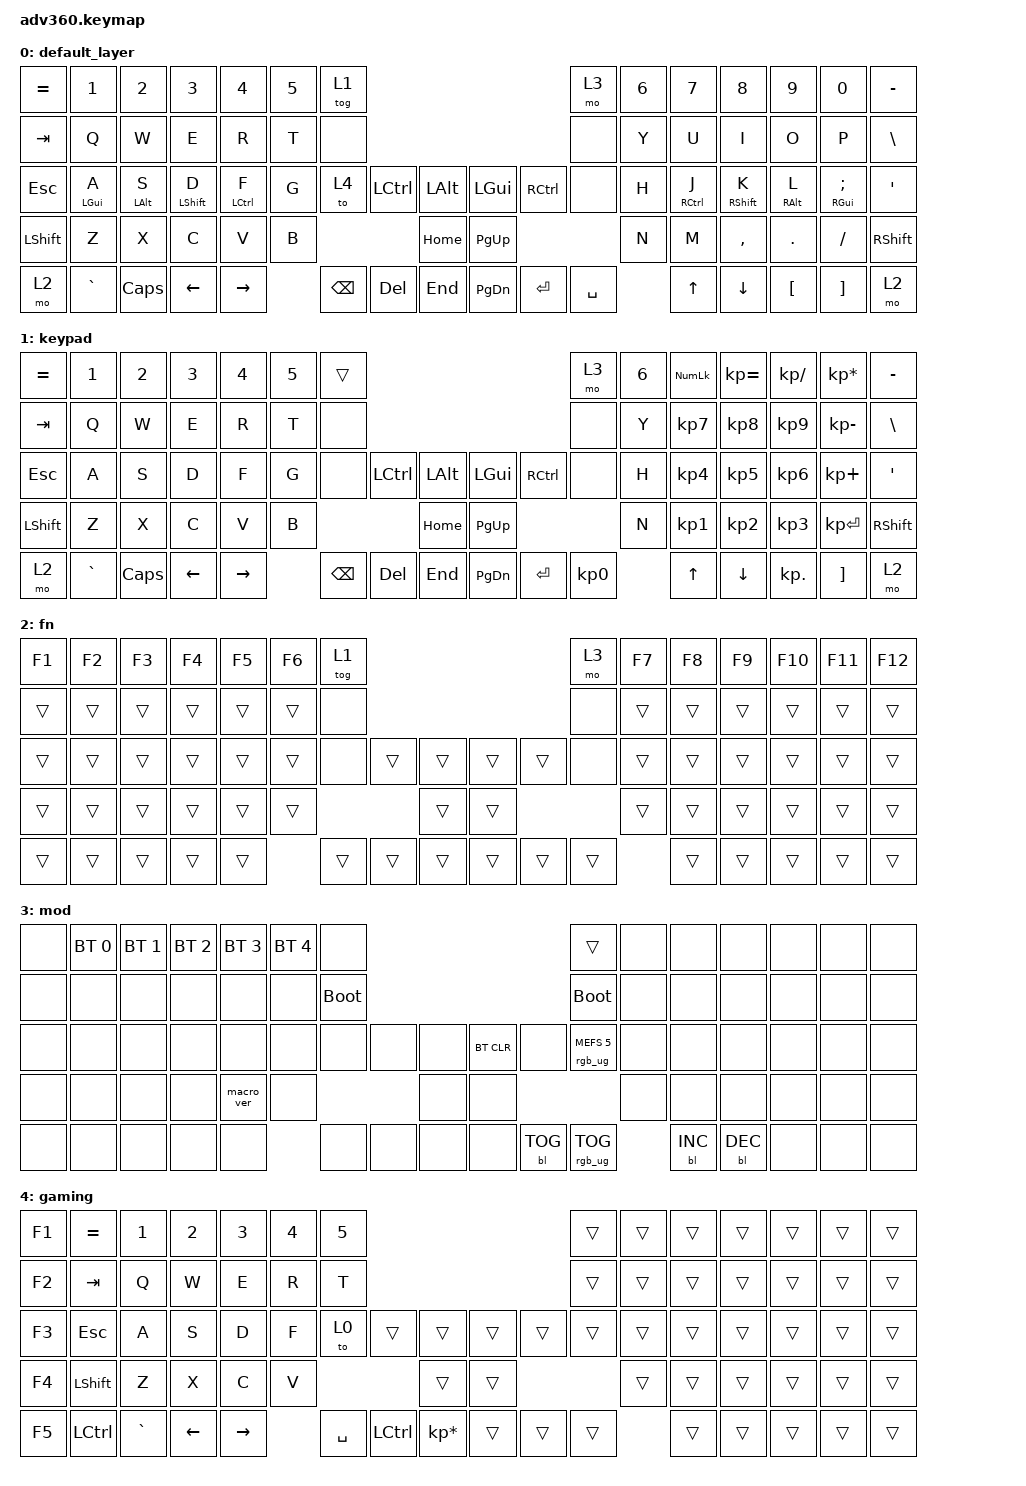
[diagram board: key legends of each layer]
#include <behaviors.dtsi>
#include <dt-bindings/zmk/backlight.h>
#include <dt-bindings/zmk/bt.h>
#include <dt-bindings/zmk/keys.h>
#include <dt-bindings/zmk/rgb.h>

/ {
    behaviors {
        #include "macros.dtsi"
      #include "version.dtsi"
      #ifndef VERSION_MACRO

        macro_ver: macro_ver {
            compatible = "zmk,behavior-macro";
            label = "macro_version";
            #binding-cells = <0>;
            bindings = <&kp RET>;
        };

        macro_rofi: rofi {
            compatible = "zmk,behavior-macro";
            #binding-cells = <0>;
            bindings =
                <&macro_press>,
                <&kp LCTRL &kp LEFT_GUI>,
                <&macro_tap>,
                <&kp ENTER>,
                <&macro_release>,
                <&kp LEFT_CONTROL &kp LEFT_GUI>;

            label = "ROFI";
        };

        #endif

        hml: homerow_mods_left {
            compatible = "zmk,behavior-hold-tap";
            label = "HOMEROW_MODS_LEFT";
            #binding-cells = <2>;
            tapping-term-ms = <280>;
            quick_tap_ms = <175>;
            flavor = "balanced";
            bindings = <&kp>, <&kp>;

            quick-tap-ms = <175>;
            require-prior-idle-ms = <150>;
            hold-trigger-key-positions = <7 8 9 10 11 12 13 21 22 23 24 25 26 27 38 39 40 41 42 43 44 45 54 55 56 57 58 59 69 70 71 72 73 74 75 37 53 68 35 36 52 65 66 67>;
            hold-trigger-on-release;
        };

        hmr: homerow_mods_right {
            compatible = "zmk,behavior-hold-tap";
            label = "HOMEROW_MODS_RIGHT";
            #binding-cells = <2>;
            tapping-term-ms = <280>;
            quick_tap_ms = <175>;
            flavor = "balanced";
            bindings = <&kp>, <&kp>;

            quick-tap-ms = <175>;
            require-prior-idle-ms = <150>;
            hold-trigger-on-release;
            hold-trigger-key-positions = <0 1 2 3 4 5 6 14 15 16 17 18 19 20 28 29 30 31 32 33 34 35 36 46 47 48 49 50 51 52 60 61 62 63 64 65 66 67>;
        };
    };

    macros {
    };

    combos { compatible = "zmk,combos"; };

    keymap {
        compatible = "zmk,keymap";

        default_layer {
            bindings = <
&kp EQUAL  &kp N1           &kp N2           &kp N3             &kp N4        &kp N5  &tog 1                                                   &mo 3      &kp N6  &kp N7        &kp N8              &kp N9            &kp N0               &kp MINUS
&kp TAB    &kp Q            &kp W            &kp E              &kp R         &kp T   &none                                                    &none      &kp Y   &kp U         &kp I               &kp O             &kp P                &kp BSLH
&kp ESC    &hml LEFT_GUI A  &hml LEFT_ALT S  &hml LEFT_SHIFT D  &hml LCTRL F  &kp G   &to 4     &kp LCTRL  &kp LALT      &kp LGUI   &kp RCTRL  &none      &kp H   &hmr RCTRL J  &hmr RIGHT_SHIFT K  &hmr RIGHT_ALT L  &hmr RIGHT_GUI SEMI  &kp SQT
&kp LSHFT  &kp Z            &kp X            &kp C              &kp V         &kp B                        &kp HOME      &kp PG_UP                        &kp N   &kp M         &kp COMMA           &kp DOT           &kp FSLH             &kp RSHFT
&mo 2      &kp GRAVE        &kp CAPS         &kp LEFT           &kp RIGHT             &kp BSPC  &kp DEL    &kp END       &kp PG_DN  &kp ENTER  &kp SPACE          &kp UP        &kp DOWN            &kp LBKT          &kp RBKT             &mo 2
            >;
        };

        keypad {
            bindings = <
&kp EQUAL  &kp N1     &kp N2    &kp N3    &kp N4     &kp N5  &trans                                                   &mo 3      &kp N6  &kp KP_NUM  &kp KP_EQUAL  &kp KP_DIVIDE  &kp KP_MULTIPLY  &kp MINUS
&kp TAB    &kp Q      &kp W     &kp E     &kp R      &kp T   &none                                                    &none      &kp Y   &kp KP_N7   &kp KP_N8     &kp KP_N9      &kp KP_MINUS     &kp BSLH
&kp ESC    &kp A      &kp S     &kp D     &kp F      &kp G   &none     &kp LCTRL  &kp LALT      &kp LGUI   &kp RCTRL  &none      &kp H   &kp KP_N4   &kp KP_N5     &kp KP_N6      &kp KP_PLUS      &kp SQT
&kp LSHFT  &kp Z      &kp X     &kp C     &kp V      &kp B                        &kp HOME      &kp PG_UP                        &kp N   &kp KP_N1   &kp KP_N2     &kp KP_N3      &kp KP_ENTER     &kp RSHFT
&mo 2      &kp GRAVE  &kp CAPS  &kp LEFT  &kp RIGHT          &kp BSPC  &kp DEL    &kp END       &kp PG_DN  &kp ENTER  &kp KP_N0          &kp UP      &kp DOWN      &kp KP_DOT     &kp RBKT         &mo 2
            >;
        };

        fn {
            bindings = <
&kp F1  &kp F2  &kp F3  &kp F4  &kp F5  &kp F6  &tog 1                                      &mo 3   &kp F7  &kp F8  &kp F9  &kp F10  &kp F11  &kp F12
&trans  &trans  &trans  &trans  &trans  &trans  &none                                       &none   &trans  &trans  &trans  &trans   &trans   &trans
&trans  &trans  &trans  &trans  &trans  &trans  &none   &trans  &trans      &trans  &trans  &none   &trans  &trans  &trans  &trans   &trans   &trans
&trans  &trans  &trans  &trans  &trans  &trans                  &trans      &trans                  &trans  &trans  &trans  &trans   &trans   &trans
&trans  &trans  &trans  &trans  &trans          &trans  &trans  &trans      &trans  &trans  &trans          &trans  &trans  &trans   &trans   &trans
            >;
        };

        mod {
            bindings = <
&none  &bt BT_SEL 0  &bt BT_SEL 1  &bt BT_SEL 2  &bt BT_SEL 3  &bt BT_SEL 4  &none                                                  &trans                  &none  &none       &none       &none  &none  &none
&none  &none         &none         &none         &none         &none         &bootloader                                            &bootloader             &none  &none       &none       &none  &none  &none
&none  &none         &none         &none         &none         &none         &none        &none  &none      &bt BT_CLR  &none       &rgb_ug RGB_MEFS_CMD 5  &none  &none       &none       &none  &none  &none
&none  &none         &none         &none         &macro_ver    &none                             &none      &none                                           &none  &none       &none       &none  &none  &none
&none  &none         &none         &none         &none                       &none        &none  &none      &none       &bl BL_TOG  &rgb_ug RGB_TOG                &bl BL_INC  &bl BL_DEC  &none  &none  &none
            >;
        };

        gaming {
            bindings = <
&kp F1  &kp EQUAL       &kp NUMBER_1  &kp NUMBER_2  &kp NUMBER_3  &kp NUMBER_4  &kp N5                                                     &trans  &trans  &trans  &trans  &trans  &trans  &trans
&kp F2  &kp TAB         &kp Q         &kp W         &kp E         &kp R         &kp T                                                      &trans  &trans  &trans  &trans  &trans  &trans  &trans
&kp F3  &kp ESCAPE      &kp A         &kp S         &kp D         &kp F         &to 0      &trans     &trans               &trans  &trans  &trans  &trans  &trans  &trans  &trans  &trans  &trans
&kp F4  &kp LEFT_SHIFT  &kp Z         &kp X         &kp C         &kp V                               &trans               &trans                  &trans  &trans  &trans  &trans  &trans  &trans
&kp F5  &kp LCTRL       &kp GRAVE     &kp LEFT      &kp RIGHT                   &kp SPACE  &kp LCTRL  &kp KP_MULTIPLY      &trans  &trans  &trans          &trans  &trans  &trans  &trans  &trans
            >;
        };
    };
};
